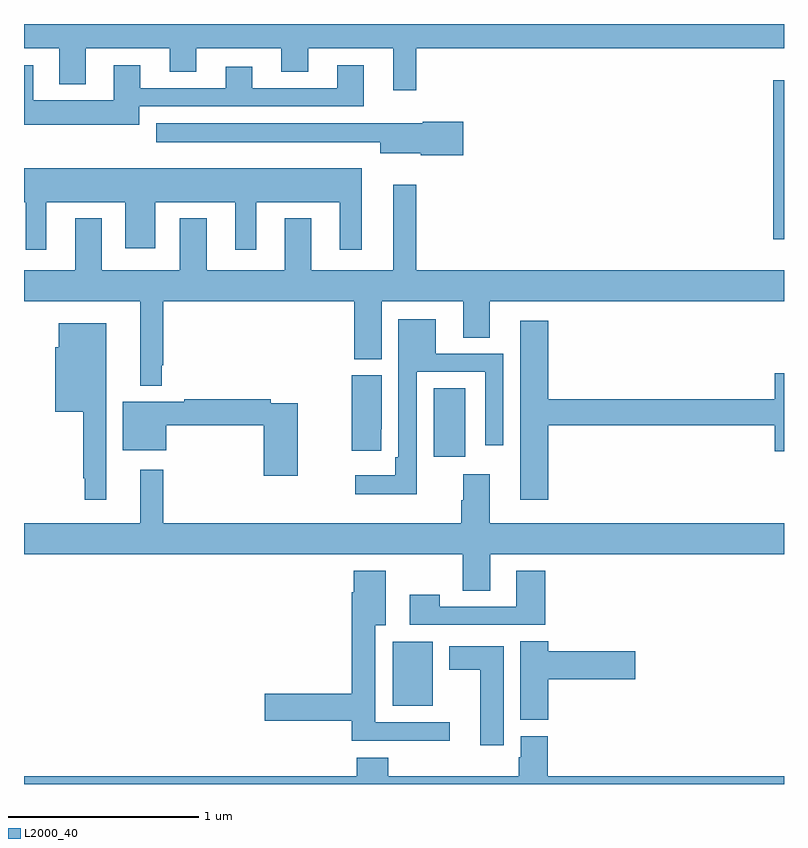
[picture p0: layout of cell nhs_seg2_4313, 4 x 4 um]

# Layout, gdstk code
import gdstk
lib = gdstk.Library(unit=1e-6, precision=1e-09)
def R(c, l, rs):  # rectangles x0, y0, x1, y1
    for r in rs: c.add(gdstk.rectangle(r[:2], r[2:], *l))
def P(c, l, *ps):  # polygons
    for p in ps: c.add(gdstk.Polygon(p, *l))
L2000_40 = (2000, 40)

nhs_seg2_4313 = lib.new_cell('nhs_seg2_4313')
R(nhs_seg2_4313, L2000_40, [(346.94,608.213,347.152,608.548), (347.156,609.522,347.323,609.884), (348.944,610.668,349,611.503)])
P(nhs_seg2_4313, L2000_40, [(345,611.672),(345.185,611.672),(345.185,611.483),(345.325,611.483),(345.325,611.672),(345.767,611.672),(345.767,611.548),(345.907,611.548),(345.907,611.672),(346.355,611.672),(346.355,611.548),(346.495,611.548),(346.495,611.672),(346.943,611.672),(346.943,611.451),(347.065,611.451),(347.065,611.672),(349,611.672),(349,611.8),(345,611.8)],
  [(345.607,611.367),(346.789,611.367),(346.789,611.584),(346.649,611.584),(346.649,611.463),(346.201,611.463),(346.201,611.575),(346.061,611.575),(346.061,611.463),(345.613,611.463),(345.613,611.584),(345.473,611.584),(345.473,611.398),(345.049,611.398),(345.049,611.584),(345,611.584),(345,611.27),(345.607,611.27)],
  [(347.311,611.286),(347.098,611.286),(347.098,611.278),(345.696,611.278),(345.696,611.177),(346.874,611.177),(346.874,611.12),(347.088,611.12),(347.088,611.108),(347.311,611.108)],
  [(345.118,610.862),(345.533,610.862),(345.533,610.619),(345.691,610.619),(345.691,610.862),(346.112,610.862),(346.112,610.611),(346.222,610.611),(346.222,610.862),(346.661,610.862),(346.661,610.611),(346.777,610.611),(346.777,611.041),(345,611.041),(345,610.862),(345.008,610.862),(345.008,610.611),(345.118,610.611)],
  [(345.726,610.003),(345.733,610.003),(345.733,610.34),(346.739,610.34),(346.739,610.036),(346.882,610.036),(346.882,610.34),(347.312,610.34),(347.312,610.15),(347.452,610.15),(347.452,610.34),(349,610.34),(349,610.504),(347.065,610.504),(347.065,610.954),(346.943,610.954),(346.943,610.504),(346.513,610.504),(346.513,610.777),(346.373,610.777),(346.373,610.504),(345.961,610.504),(345.961,610.777),(345.821,610.777),(345.821,610.504),(345.409,610.504),(345.409,610.777),(345.269,610.777),(345.269,610.504),(345,610.504),(345,610.34),(345.611,610.34),(345.611,609.896),(345.726,609.896)],
  [(347.067,609.969),(347.427,609.969),(347.427,609.582),(347.523,609.582),(347.523,610.065),(347.167,610.065),(347.167,610.246),(346.971,610.246),(346.971,609.52),(346.955,609.52),(346.955,609.424),(346.743,609.424),(346.743,609.326),(347.067,609.326)],
  [(347.759,609.688),(348.95,609.688),(348.95,609.551),(349,609.551),(349,609.961),(348.95,609.961),(348.95,609.824),(347.759,609.824),(347.759,610.237),(347.612,610.237),(347.612,609.297),(347.759,609.297)],
  [(345.433,610.225),(345.182,610.225),(345.182,610.098),(345.164,610.098),(345.164,609.758),(345.312,609.758),(345.312,609.409),(345.319,609.409),(345.319,609.297),(345.433,609.297)],
  [(346.881,609.667),(346.882,609.667),(346.882,609.951),(346.726,609.951),(346.726,609.555),(346.881,609.555)],
  [(346.44,609.804),(346.298,609.804),(346.298,609.824),(345.844,609.824),(345.844,609.811),(345.521,609.811),(345.521,609.557),(345.748,609.557),(345.748,609.688),(346.262,609.688),(346.262,609.423),(346.44,609.423)],
  [(347.455,609.008),(349,609.008),(349,609.172),(347.452,609.172),(347.452,609.43),(347.312,609.43),(347.312,609.293),(347.3,609.293),(347.3,609.172),(345.733,609.172),(345.733,609.454),(345.611,609.454),(345.611,609.172),(345,609.172),(345,609.008),(347.308,609.008),(347.308,608.818),(347.455,608.818)],
  [(347.242,608.124),(346.849,608.124),(346.849,608.636),(346.903,608.636),(346.903,608.923),(346.736,608.923),(346.736,608.81),(346.724,608.81),(346.724,608.276),(346.266,608.276),(346.266,608.134),(346.724,608.134),(346.724,608.027),(347.242,608.027)],
  [(347.744,608.923),(347.591,608.923),(347.591,608.733),(347.187,608.733),(347.187,608.797),(347.031,608.797),(347.031,608.637),(347.744,608.637)],
  [(347.759,608.351),(348.217,608.351),(348.217,608.498),(347.759,608.498),(347.759,608.552),(347.612,608.552),(347.612,608.137),(347.759,608.137)],
  [(347.524,608.524),(347.237,608.524),(347.237,608.402),(347.402,608.402),(347.402,608.004),(347.524,608.004)],
  [(349,607.84),(347.756,607.84),(347.756,608.052),(347.615,608.052),(347.615,607.941),(347.603,607.941),(347.603,607.84),(346.916,607.84),(346.916,607.939),(346.751,607.939),(346.751,607.84),(345,607.84),(345,607.8),(349,607.8)])

lib.write_gds('nhs_seg2_4313.gds')
